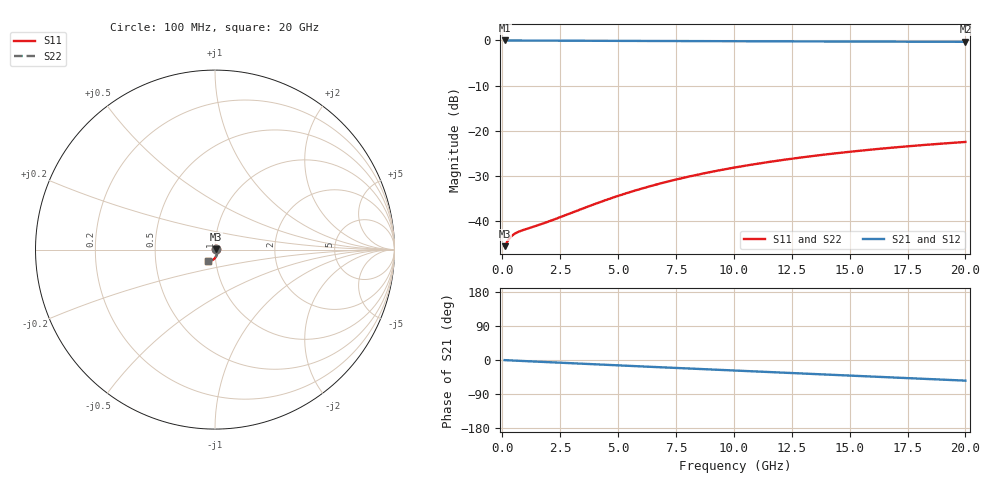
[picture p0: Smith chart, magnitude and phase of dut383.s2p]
! Touchstone file exported from HFSS 2026.1.0
!  File:  C:/ffzhzh/LocalFiles/Ansys_Project_Files/temp_train_TMRDL_383_1783004591_51716.aedt
!  Generated:  11:04:51 PM Jul  2, 2026
!  Design:  TMRDL
!  Project:  temp_train_TMRDL_383_1783004591_51716
! Variables:
!  h_bsmrdl = 2um
!  h_ox = 20um
!  h_rdl = 5um
!  h_sub = 80um
!  h_tmrdl = 5.13um
!  h_tsv = 80um
!  h_via = 3um
!  l_bsmrdl = 300um
!  l_sub = 1398.41um
!  l_tmrdl = 998.41um
!  m_sub = 200um
!  pitch = 17.07um
!  r_tsv = 6um
!  s_tmrdl = 10um
!  w_bsmrdl = 18um
!  w_sub = 500um
!  w_tmrdl = 13.59um
!  x_tsv_center1 = 1005.205um
!  x_tsv_center2 = 1323.205um
!  x_tsv_center3 = 2335.205um
!  x_tsv_center4 = 2653.205um
!  x_tsv_center5 = 3665.205um
!  x_tsv_center6 = 3983.205um
# GHz S MA R 50.000000
! Terminal data exported
! Port[1] = TM_RDL1_1_T1
! Port[2] = TM_RDL1_1_T2
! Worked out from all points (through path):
!   200 points, 100 MHz to 20 GHz, reference 50 ohm
!   highest |S21| = -0.05 dB at 100 MHz (marker M1); lowest = -0.3 dB at 20 GHz (marker M2)
!   group delay of S21, straight-line fit = 7.52 ps
!   lowest |S11| = -45.5 dB at 100 MHz (marker M3), VSWR 1.01, Z = 50.5 + j0.0633 ohm
!   |S11| at or under -10 dB: start of sweep to end of sweep
!   |S22| runs from -45.5 to -22.6 dB; largest |S21 - S12| = 7.3e-15
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0.1  0.005307 6.8  0.9947 -0.3  0.9947 -0.3  0.005307 6.8
! Gamma 0 0 0 0
! Port Impedance 50 0 50 0
0.2  0.005871 9.5  0.9942 -0.7  0.9942 -0.7  0.005871 9.5
0.3  0.006423 8.9  0.9937 -0.9  0.9937 -0.9  0.006423 8.9
0.4  0.006859 7.0  0.9932 -1.2  0.9932 -1.2  0.006857 7.0
0.5  0.007187 4.7  0.9929 -1.5  0.9929 -1.5  0.007184 4.7
0.6  0.007442 2.4  0.9926 -1.8  0.9926 -1.8  0.007437 2.3
0.9  0.007998 -3.8  0.992 -2.7  0.992 -2.7  0.007989 -3.9
2.1  0.01015 -21.6  0.9902 -6.1  0.9902 -6.1  0.01013 -21.6
3.5  0.01391 -36.8  0.9875 -10.0  0.9875 -10.0  0.01385 -36.9
4.4  0.0169 -45.0  0.9856 -12.5  0.9856 -12.5  0.01682 -45.1
5.2  0.01981 -51.4  0.9839 -14.7  0.9839 -14.7  0.01971 -51.6
6  0.02289 -57.4  0.9823 -16.9  0.9823 -16.9  0.02276 -57.6
6.8  0.02606 -62.8  0.9807 -19.1  0.9807 -19.1  0.02591 -63.1
7.6  0.0293 -67.8  0.9792 -21.2  0.9792 -21.2  0.02912 -68.1
8.4  0.03257 -72.4  0.9778 -23.4  0.9778 -23.4  0.03236 -72.8
10.1  0.03952 -81.2  0.975 -28.0  0.975 -28.0  0.03925 -81.7
11.7  0.04595 -88.7  0.9725 -32.3  0.9725 -32.3  0.04562 -89.2
13.4  0.05258 -95.8  0.97 -36.8  0.97 -36.8  0.05218 -96.5
15  0.05856 -102.1  0.9677 -41.1  0.9677 -41.1  0.05811 -102.9
16.7  0.0646 -108.3  0.9654 -45.7  0.9654 -45.7  0.06408 -109.2
18.3  0.06993 -113.9  0.9632 -49.9  0.9632 -49.9  0.06935 -114.9
20  0.07519 -119.6  0.9609 -54.5  0.9609 -54.5  0.07454 -120.7
